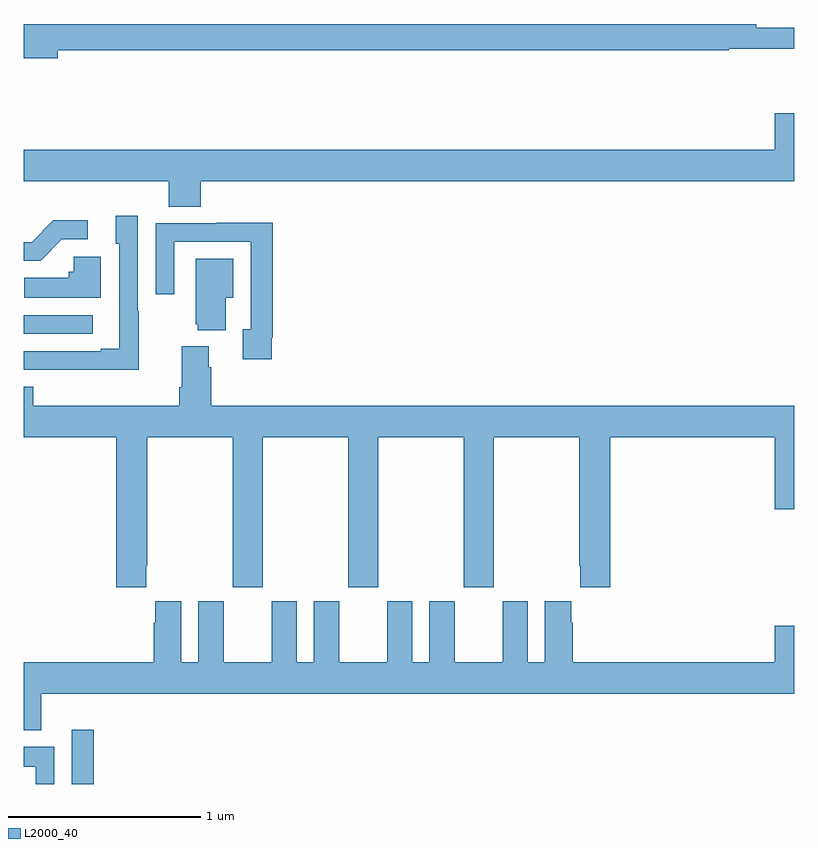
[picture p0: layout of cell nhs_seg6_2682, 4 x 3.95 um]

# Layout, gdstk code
import gdstk
lib = gdstk.Library(unit=1e-6, precision=1e-09)
def R(c, l, rs):  # rectangles x0, y0, x1, y1
    for r in rs: c.add(gdstk.rectangle(r[:2], r[2:], *l))
def P(c, l, *ps):  # polygons
    for p in ps: c.add(gdstk.Polygon(p, *l))
L2000_40 = (2000, 40)

nhs_seg6_2682 = lib.new_cell('nhs_seg6_2682')
R(nhs_seg6_2682, L2000_40, [(269.247,981.5,269.363,981.781), (269,983.838,269.356,983.934)])
P(nhs_seg6_2682, L2000_40, [(269.176,985.312),(272.662,985.312),(272.662,985.32),(273,985.32),(273,985.429),(272.804,985.429),(272.804,985.448),(269,985.448),(269,985.27),(269.176,985.27)],
  [(269.918,984.632),(273,984.632),(273,984.985),(272.9,984.985),(272.9,984.796),(269,984.796),(269,984.632),(269.753,984.632),(269.753,984.499),(269.918,984.499)],
  [(269.595,983.957),(269.592,983.957),(269.592,984.451),(269.477,984.451),(269.477,984.306),(269.496,984.306),(269.496,983.761),(269.399,983.761),(269.399,983.748),(269,983.748),(269,983.652),(269.131,983.652),(269.131,983.651),(269.595,983.651)],
  [(269.197,984.33),(269.332,984.33),(269.332,984.428),(269.153,984.428),(269.04,984.315),(269,984.315),(269,984.219),(269.086,984.219)],
  [(270.286,983.818),(270.293,983.818),(270.293,984.416),(270.001,984.416),(270.001,984.414),(269.685,984.414),(269.685,984.045),(269.781,984.045),(269.781,984.318),(270.177,984.318),(270.177,983.862),(270.137,983.862),(270.137,983.706),(270.286,983.706)],
  [(269.398,984.238),(269.259,984.238),(269.259,984.162),(269.233,984.162),(269.233,984.13),(269.002,984.13),(269.002,984.026),(269.398,984.026)],
  [(270.049,984.026),(270.088,984.026),(270.088,984.229),(269.891,984.229),(269.891,983.889),(269.903,983.889),(269.903,983.858),(270.049,983.858)],
  [(269.635,982.633),(269.64,982.633),(269.64,983.3),(270.085,983.3),(270.085,982.521),(270.24,982.521),(270.24,983.3),(270.685,983.3),(270.685,982.521),(270.84,982.521),(270.84,983.3),(271.285,983.3),(271.285,982.521),(271.44,982.521),(271.44,983.3),(271.885,983.3),(271.885,982.633),(271.889,982.633),(271.889,982.521),(272.045,982.521),(272.045,983.3),(272.9,983.3),(272.9,982.926),(273,982.926),(273,983.464),(269.972,983.464),(269.972,983.666),(269.959,983.666),(269.959,983.773),(269.819,983.773),(269.819,983.56),(269.807,983.56),(269.807,983.464),(269.048,983.464),(269.048,983.563),(269,983.563),(269,983.3),(269.48,983.3),(269.48,982.521),(269.635,982.521)],
  [(269.089,981.968),(273,981.968),(273,982.321),(272.9,982.321),(272.9,982.132),(271.85,982.132),(271.85,982.337),(271.843,982.337),(271.843,982.45),(271.706,982.45),(271.706,982.132),(271.618,982.132),(271.618,982.45),(271.487,982.45),(271.487,982.132),(271.237,982.132),(271.237,982.45),(271.106,982.45),(271.106,982.132),(271.018,982.132),(271.018,982.45),(270.887,982.45),(270.887,982.132),(270.637,982.132),(270.637,982.45),(270.506,982.45),(270.506,982.132),(270.418,982.132),(270.418,982.45),(270.287,982.45),(270.287,982.132),(270.037,982.132),(270.037,982.45),(269.906,982.45),(269.906,982.132),(269.818,982.132),(269.818,982.45),(269.681,982.45),(269.681,982.337),(269.675,982.337),(269.675,982.132),(269,982.132),(269,981.779),(269.089,981.779)],
  [(269.157,981.694),(269,981.694),(269,981.59),(269.061,981.59),(269.061,981.5),(269.157,981.5)])

lib.write_gds('nhs_seg6_2682.gds')
